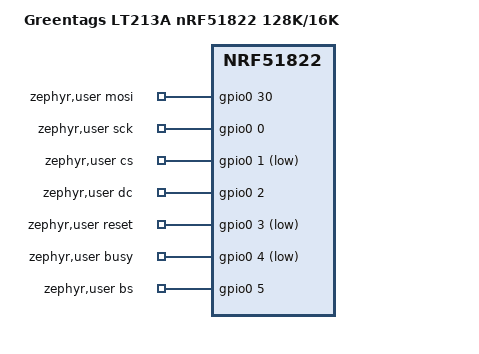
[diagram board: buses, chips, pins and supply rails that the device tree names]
/dts-v1/;
#include <nordic/nrf51822_qfab.dtsi>
#include <zephyr/dt-bindings/gpio/gpio.h>

/ {
    model = "Greentags LT213A nRF51822 128K/16K";
    compatible = "greentags,lt213a";
    chosen {
        zephyr,sram = &sram0;
        zephyr,flash = &flash0;
        zephyr,code-partition = &app_partition;
    };
    zephyr,user {
        mosi-gpios = <&gpio0 30 GPIO_ACTIVE_HIGH>;
        sck-gpios = <&gpio0 0 GPIO_ACTIVE_HIGH>;
        cs-gpios = <&gpio0 1 GPIO_ACTIVE_LOW>;
        dc-gpios = <&gpio0 2 GPIO_ACTIVE_HIGH>;
        reset-gpios = <&gpio0 3 GPIO_ACTIVE_LOW>;
        busy-gpios = <&gpio0 4 GPIO_ACTIVE_LOW>;
        bs-gpios = <&gpio0 5 GPIO_ACTIVE_HIGH>;
    };
};
&gpio0 { status = "okay"; };
&gpiote { status = "okay"; };
&uart0 { status = "disabled"; };
&flash0 {
    partitions {
        compatible = "fixed-partitions";
        #address-cells = <1>;
        #size-cells = <1>;
        app_partition: partition@0 { label = "application"; reg = <0 0x1f800>; };
        storage_partition: partition@1f800 { label = "config"; reg = <0x1f800 0x800>; };
    };
};
